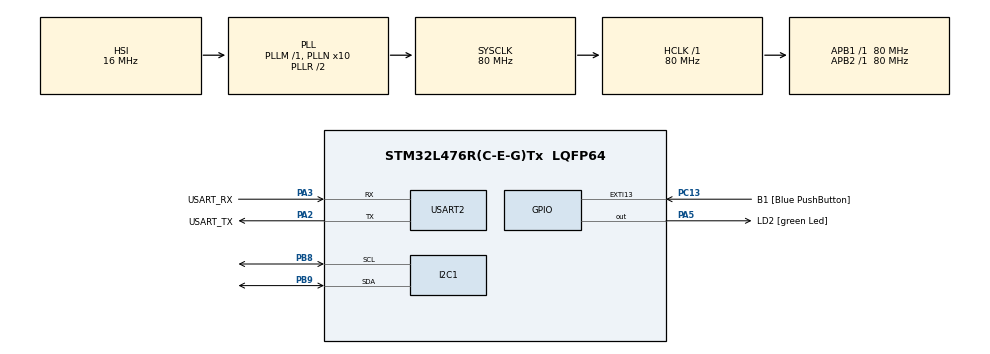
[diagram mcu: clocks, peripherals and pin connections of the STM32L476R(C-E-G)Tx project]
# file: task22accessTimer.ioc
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I2C1.Timing=0x10909CEC
Mcu.Family=STM32L4
Mcu.Name=STM32L476R(C-E-G)Tx
Mcu.Package=LQFP64
NVIC.PriorityGroup=NVIC_PRIORITYGROUP_4
PA13\ (JTMS-SWDIO).GPIO_Label=TMS
PA13\ (JTMS-SWDIO).Mode=Serial_Wire
PA13\ (JTMS-SWDIO).Signal=SYS_JTMS-SWDIO
PA14\ (JTCK-SWCLK).GPIO_Label=TCK
PA14\ (JTCK-SWCLK).Mode=Serial_Wire
PA14\ (JTCK-SWCLK).Signal=SYS_JTCK-SWCLK
PA2.GPIO_Label=USART_TX
PA2.GPIO_Mode=GPIO_MODE_AF_PP
PA2.GPIO_PuPd=GPIO_NOPULL
PA2.GPIO_Speed=GPIO_SPEED_FREQ_VERY_HIGH
PA2.Mode=Asynchronous
PA2.Signal=USART2_TX
PA3.GPIO_Label=USART_RX
PA3.GPIO_Mode=GPIO_MODE_AF_PP
PA3.GPIO_PuPd=GPIO_NOPULL
PA3.GPIO_Speed=GPIO_SPEED_FREQ_VERY_HIGH
PA3.Mode=Asynchronous
PA3.Signal=USART2_RX
PA5.GPIO_Label=LD2 [green Led]
PA5.GPIO_ModeDefaultOutputPP=GPIO_MODE_OUTPUT_PP
PA5.GPIO_PuPd=GPIO_NOPULL
PA5.GPIO_Speed=GPIO_SPEED_FREQ_LOW
PA5.Signal=GPIO_Output
PB3\ (JTDO-TRACESWO).GPIO_Label=SWO
PB3\ (JTDO-TRACESWO).Signal=SYS_JTDO-SWO
PB8.Mode=I2C
PB8.Signal=I2C1_SCL
PB9.Mode=I2C
PB9.Signal=I2C1_SDA
PC13.GPIO_Label=B1 [Blue PushButton]
PC13.GPIO_ModeDefaultEXTI=GPIO_MODE_IT_FALLING
PC13.GPIO_PuPd=GPIO_NOPULL
PC13.Signal=GPXTI13
PC14-OSC32_IN\ (PC14).Mode=LSE-External-Oscillator
PC14-OSC32_IN\ (PC14).Signal=RCC_OSC32_IN
PC15-OSC32_OUT\ (PC15).Mode=LSE-External-Oscillator
PC15-OSC32_OUT\ (PC15).Signal=RCC_OSC32_OUT
PH0-OSC_IN\ (PH0).Signal=RCC_OSC_IN
PH1-OSC_OUT\ (PH1).Signal=RCC_OSC_OUT
ProjectManager.HeapSize=0x200
ProjectManager.StackSize=0x400
ProjectManager.TargetToolchain=STM32CubeIDE
RCC.ADCFreq_Value=64000000
RCC.AHBFreq_Value=80000000
RCC.APB1Freq_Value=80000000
RCC.APB1TimFreq_Value=80000000
RCC.APB2Freq_Value=80000000
RCC.APB2TimFreq_Value=80000000
RCC.CortexFreq_Value=80000000
RCC.HCLKFreq_Value=80000000
RCC.HSE_VALUE=8000000
RCC.HSI_VALUE=16000000
RCC.MSI_VALUE=4000000
RCC.PLLN=10
RCC.PLLSourceVirtual=RCC_PLLSOURCE_HSI
RCC.PREFETCH_ENABLE=1
RCC.SYSCLKFreq_VALUE=80000000
RCC.SYSCLKSource=RCC_SYSCLKSOURCE_PLLCLK
RCC.USBFreq_Value=64000000
RCC.VCOOutputFreq_Value=160000000
TIM16.Prescaler=79
USART2.VirtualMode-Asynchronous=VM_ASYNC
VP_TIM16_VS_ClockSourceINT.Mode=Enable_Timer
board=NUCLEO-L476RG

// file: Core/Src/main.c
/* USER CODE BEGIN Header */
/**
  ******************************************************************************
  * @file           : main.c
  * @brief          : Main program body
  ******************************************************************************
  * @attention
  *
  * Copyright (c) 2022 STMicroelectronics.
  * All rights reserved.
  *
  * This software is licensed under terms that can be found in the LICENSE file
  * in the root directory of this software component.
  * If no LICENSE file comes with this software, it is provided AS-IS.
  *
  ******************************************************************************
  */
/* USER CODE END Header */
#include "main.h"

/* USER CODE BEGIN Includes */
#include <stdio.h>
#include <string.h>
/* USER CODE END Includes */

 I2C_HandleTypeDef hi2c1;

TIM_HandleTypeDef htim16;

UART_HandleTypeDef huart2;

void SystemClock_Config(void);
static void MX_GPIO_Init(void);
static void MX_USART2_UART_Init(void);
static void MX_I2C1_Init(void);
static void MX_TIM16_Init(void);

/* USER CODE BEGIN 0 */

int _write(int fd, char* ptr, int len)
{
	HAL_UART_Transmit(&huart2, (uint8_t*)ptr, len, HAL_MAX_DELAY);
	return len;
}

const uint8_t flashData[100] = {1,2,3,4,5,6,7,8,9,10};
uint8_t ramData[100] = {1,2,3,4,5,6,7,8,9,10};
uint8_t destData[100];

/* USER CODE END 0 */

int main(void)
{

  /* MCU Configuration--------------------------------------------------------*/

  /* Reset of all peripherals, Initializes the Flash interface and the Systick. */
  HAL_Init();

  /* Configure the system clock */
  SystemClock_Config();

  /* Initialize all configured peripherals */
  MX_GPIO_Init();
  MX_USART2_UART_Init();
  MX_I2C1_Init();
  MX_TIM16_Init();
  /* USER CODE BEGIN 2 */
    int r;

    __HAL_TIM_SET_COUNTER(&htim16 , 0);
    HAL_TIM_Base_Start(&htim16);
    memcpy(destData, flashData, 64);
    HAL_TIM_Base_Stop(&htim16);
    r=__HAL_TIM_GET_COUNTER(&htim16);
    printf("flash=%d \r\n", r);

    __HAL_TIM_SET_COUNTER(&htim16 , 0);
    HAL_TIM_Base_Start(&htim16);
    memcpy(destData, ramData, 64);
    HAL_TIM_Base_Stop(&htim16);
    r=__HAL_TIM_GET_COUNTER(&htim16);
    printf("ram=%d \r\n", r);

    __HAL_TIM_SET_COUNTER(&htim16 , 0);
    HAL_TIM_Base_Start(&htim16);
    int status = HAL_I2C_Mem_Read(&hi2c1, 208, 10, 1, destData, 64, 0xff);
    HAL_TIM_Base_Stop(&htim16);
    r=__HAL_TIM_GET_COUNTER(&htim16);
    printf("rtc=%d status=%d\r\n", r, status);

  /* USER CODE END 2 */

  /* Infinite loop */
  while (1)
  {

  }
}

void SystemClock_Config(void)
{
  RCC_OscInitTypeDef RCC_OscInitStruct = {0};
  RCC_ClkInitTypeDef RCC_ClkInitStruct = {0};

  /** Configure the main internal regulator output voltage
  */
  if (HAL_PWREx_ControlVoltageScaling(PWR_REGULATOR_VOLTAGE_SCALE1) != HAL_OK)
  {
    Error_Handler();
  }

  /** Initializes the RCC Oscillators according to the specified parameters
  * in the RCC_OscInitTypeDef structure.
  */
  RCC_OscInitStruct.OscillatorType = RCC_OSCILLATORTYPE_HSI;
  RCC_OscInitStruct.HSIState = RCC_HSI_ON;
  RCC_OscInitStruct.HSICalibrationValue = RCC_HSICALIBRATION_DEFAULT;
  RCC_OscInitStruct.PLL.PLLState = RCC_PLL_ON;
  RCC_OscInitStruct.PLL.PLLSource = RCC_PLLSOURCE_HSI;
  RCC_OscInitStruct.PLL.PLLM = 1;
  RCC_OscInitStruct.PLL.PLLN = 10;
  RCC_OscInitStruct.PLL.PLLP = RCC_PLLP_DIV7;
  RCC_OscInitStruct.PLL.PLLQ = RCC_PLLQ_DIV2;
  RCC_OscInitStruct.PLL.PLLR = RCC_PLLR_DIV2;
  if (HAL_RCC_OscConfig(&RCC_OscInitStruct) != HAL_OK)
  {
    Error_Handler();
  }

  /** Initializes the CPU, AHB and APB buses clocks
  */
  RCC_ClkInitStruct.ClockType = RCC_CLOCKTYPE_HCLK|RCC_CLOCKTYPE_SYSCLK
                              |RCC_CLOCKTYPE_PCLK1|RCC_CLOCKTYPE_PCLK2;
  RCC_ClkInitStruct.SYSCLKSource = RCC_SYSCLKSOURCE_PLLCLK;
  RCC_ClkInitStruct.AHBCLKDivider = RCC_SYSCLK_DIV1;
  RCC_ClkInitStruct.APB1CLKDivider = RCC_HCLK_DIV1;
  RCC_ClkInitStruct.APB2CLKDivider = RCC_HCLK_DIV1;

  if (HAL_RCC_ClockConfig(&RCC_ClkInitStruct, FLASH_LATENCY_4) != HAL_OK)
  {
    Error_Handler();
  }
}

static void MX_I2C1_Init(void)
{

  hi2c1.Instance = I2C1;
  hi2c1.Init.Timing = 0x10909CEC;
  hi2c1.Init.OwnAddress1 = 0;
  hi2c1.Init.AddressingMode = I2C_ADDRESSINGMODE_7BIT;
  hi2c1.Init.DualAddressMode = I2C_DUALADDRESS_DISABLE;
  hi2c1.Init.OwnAddress2 = 0;
  hi2c1.Init.OwnAddress2Masks = I2C_OA2_NOMASK;
  hi2c1.Init.GeneralCallMode = I2C_GENERALCALL_DISABLE;
  hi2c1.Init.NoStretchMode = I2C_NOSTRETCH_DISABLE;
  if (HAL_I2C_Init(&hi2c1) != HAL_OK)
  {
    Error_Handler();
  }

  /** Configure Analogue filter
  */
  if (HAL_I2CEx_ConfigAnalogFilter(&hi2c1, I2C_ANALOGFILTER_ENABLE) != HAL_OK)
  {
    Error_Handler();
  }

  /** Configure Digital filter
  */
  if (HAL_I2CEx_ConfigDigitalFilter(&hi2c1, 0) != HAL_OK)
  {
    Error_Handler();
  }

}

static void MX_TIM16_Init(void)
{

  htim16.Instance = TIM16;
  htim16.Init.Prescaler = 79;
  htim16.Init.CounterMode = TIM_COUNTERMODE_UP;
  htim16.Init.Period = 65535;
  htim16.Init.ClockDivision = TIM_CLOCKDIVISION_DIV1;
  htim16.Init.RepetitionCounter = 0;
  htim16.Init.AutoReloadPreload = TIM_AUTORELOAD_PRELOAD_DISABLE;
  if (HAL_TIM_Base_Init(&htim16) != HAL_OK)
  {
    Error_Handler();
  }

}

static void MX_USART2_UART_Init(void)
{

  huart2.Instance = USART2;
  huart2.Init.BaudRate = 115200;
  huart2.Init.WordLength = UART_WORDLENGTH_8B;
  huart2.Init.StopBits = UART_STOPBITS_1;
  huart2.Init.Parity = UART_PARITY_NONE;
  huart2.Init.Mode = UART_MODE_TX_RX;
  huart2.Init.HwFlowCtl = UART_HWCONTROL_NONE;
  huart2.Init.OverSampling = UART_OVERSAMPLING_16;
  huart2.Init.OneBitSampling = UART_ONE_BIT_SAMPLE_DISABLE;
  huart2.AdvancedInit.AdvFeatureInit = UART_ADVFEATURE_NO_INIT;
  if (HAL_UART_Init(&huart2) != HAL_OK)
  {
    Error_Handler();
  }

}

static void MX_GPIO_Init(void)
{
  GPIO_InitTypeDef GPIO_InitStruct = {0};

  /* GPIO Ports Clock Enable */
  __HAL_RCC_GPIOC_CLK_ENABLE();
  __HAL_RCC_GPIOH_CLK_ENABLE();
  __HAL_RCC_GPIOA_CLK_ENABLE();
  __HAL_RCC_GPIOB_CLK_ENABLE();

  /*Configure GPIO pin Output Level */
  HAL_GPIO_WritePin(LD2_GPIO_Port, LD2_Pin, GPIO_PIN_RESET);

  /*Configure GPIO pin : B1_Pin */
  GPIO_InitStruct.Pin = B1_Pin;
  GPIO_InitStruct.Mode = GPIO_MODE_IT_FALLING;
  GPIO_InitStruct.Pull = GPIO_NOPULL;
  HAL_GPIO_Init(B1_GPIO_Port, &GPIO_InitStruct);

  /*Configure GPIO pin : LD2_Pin */
  GPIO_InitStruct.Pin = LD2_Pin;
  GPIO_InitStruct.Mode = GPIO_MODE_OUTPUT_PP;
  GPIO_InitStruct.Pull = GPIO_NOPULL;
  GPIO_InitStruct.Speed = GPIO_SPEED_FREQ_LOW;
  HAL_GPIO_Init(LD2_GPIO_Port, &GPIO_InitStruct);

}

void Error_Handler(void)
{
  __disable_irq();
  while (1)
  {
  }
}
